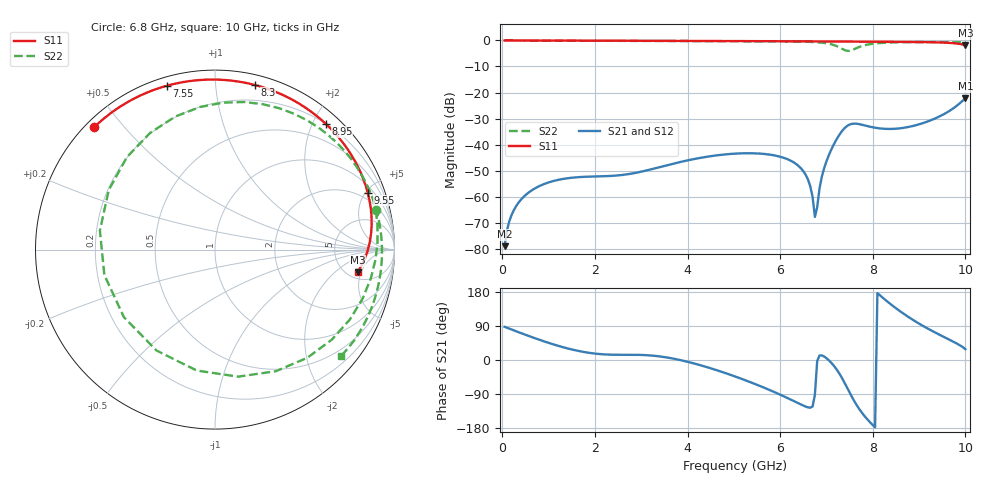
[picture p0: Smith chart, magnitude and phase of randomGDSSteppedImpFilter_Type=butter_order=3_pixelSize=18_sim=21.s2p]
! freq	dB(S11)	phase(S11)	dB(S12)	phase(S12)
!  dB(S21)	phase(S21)	dB(S22)	phase(S22)
!S-par simulation data
#  GHz  S  DB  R 50
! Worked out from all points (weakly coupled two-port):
!   200 points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, 50 MHz to 10 GHz, reference 50 ohm
!   highest |S21| = -22.19 dB at 10 GHz (marker M1); lowest = -79.0 dB at 50 MHz (marker M2)
!   lowest |S11| = -1.9 dB at 10 GHz (marker M3), VSWR 9.23, Z = 304 - j217 ohm
!   |S11| at or under -10 dB: nowhere
!   |S22| runs from -4.0 to 0.0 dB; largest |S21 - S12| = 0
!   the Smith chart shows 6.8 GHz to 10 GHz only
!   S11 on the Smith chart (normalised r, x): 6.8 GHz: 0.02, +0.42; 7.55 GHz: 0.04, +0.75; 8.3 GHz: 0.08, +1.27; 8.95 GHz: 0.20, +2.20; 9.55 GHz: 1.42, +5.16; 10 GHz: 6.07, -4.34
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0.05  -0.00 -1.8  -79.03 87.6  -79.03 87.6  -0.00 -3.0
0.2  -0.01 -7.3  -67.06 80.5  -67.06 80.5  -0.02 -11.8
0.5  -0.02 -18.1  -59.43 66.6  -59.43 66.6  -0.04 -29.2
1.75  -0.08 -61.8  -52.40 21.4  -52.40 21.4  -0.11 -96.8
3.4  -0.14 -115.5  -48.66 9.4  -48.66 9.4  -0.18 -172.0
5.05  -0.24 -166.9  -43.45 -44.5  -43.45 -44.5  -0.26 116.6
6.25  -0.32 153.9  -46.39 -105.6  -46.39 -105.6  -0.39 55.5
6.55  -0.35 143.4  -51.59 -122.9  -51.59 -122.9  -0.49 35.3
6.7  -0.36 138.1  -60.08 -122.8  -60.08 -122.8  -0.60 23.2
6.75  -0.36 136.3  -67.77 -91.9  -67.77 -91.9  -0.64 18.6
6.8  -0.37 134.5  -64.09 -2.7  -64.09 -2.7  -0.70 13.7
6.95  -0.38 129.1  -49.07 9.2  -49.07 9.2  -0.96 -3.6
7.15  -0.40 121.7  -40.25 -13.7  -40.25 -13.7  -1.70 -37.6
7.3  -0.41 116.0  -35.68 -40.2  -35.68 -40.2  -2.86 -79.7
7.4  -0.42 112.2  -33.53 -62.2  -33.53 -62.2  -3.74 -120.1
7.55  -0.43 106.5  -32.03 -97.4  -32.03 -97.4  -3.74 170.6
7.8  -0.46 96.7  -32.53 -144.6  -32.53 -144.6  -1.95 96.0
8.3  -0.50 76.4  -33.98 155.6  -33.98 155.6  -0.85 37.5
8.35  -0.51 74.3  -34.00 150.7  -34.00 150.7  -0.81 33.8
8.95  -0.60 48.7  -32.47 99.6  -32.47 99.6  -0.63 0.3
9.55  -0.84 20.5  -28.18 60.1  -28.18 60.1  -0.64 -24.4
10  -1.89 -9.0  -22.19 28.7  -22.19 28.7  -0.74 -40.2
